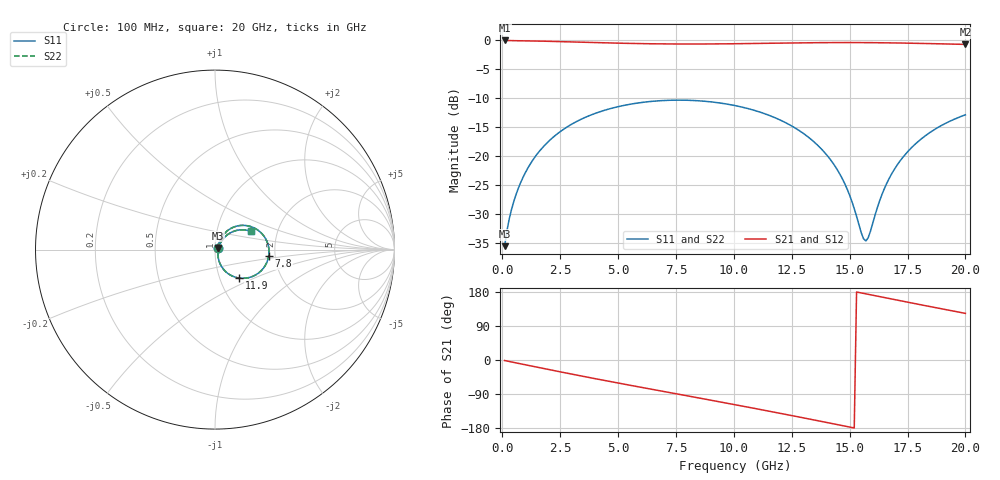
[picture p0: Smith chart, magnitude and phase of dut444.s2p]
! Touchstone file exported from HFSS 2026.1.0
!  File:  C:/ffzhzh/LocalFiles/Ansys_Project_Files/temp_train_TSV_RDL_444_1783099051_35180.aedt
!  Generated:  01:28:21 AM Jul  4, 2026
!  Design:  TSV_RDL
!  Project:  temp_train_TSV_RDL_444_1783099051_35180
! Variables:
!  h_bsmrdl = 4.12um
!  h_ox = 20um
!  h_rdl = 5um
!  h_sub = 70.75um
!  h_tmrdl = 4.57um
!  h_tsv = 70.75um
!  h_via = 3um
!  l_bsmrdl = 639.42um
!  l_sub = 4053.22um
!  l_tmrdl = 391.8um
!  m_sub = 200um
!  pitch = 39.66um
!  r_tsv = 4.96um
!  s_tmrdl = 10um
!  w_bsmrdl = 25.93um
!  w_sub = 500um
!  w_tmrdl = 29.99um
!  x_tsv_center1 = 406.795um
!  x_tsv_center2 = 1072.145um
!  x_tsv_center3 = 1493.935um
!  x_tsv_center4 = 2159.285um
!  x_tsv_center5 = 2581.075um
!  x_tsv_center6 = 3246.425um
# GHz S MA R 50.000000
! Terminal data exported
! Port[1] = TM_RDL1_1_T1
! Port[2] = TM_RDL5_1_T1
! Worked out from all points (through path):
!   200 points, 100 MHz to 20 GHz, reference 50 ohm
!   highest |S21| = -0.12 dB at 100 MHz (marker M1); lowest = -0.8 dB at 20 GHz (marker M2)
!   group delay of S21, straight-line fit = 32.6 ps
!   lowest |S11| = -35.6 dB at 100 MHz (marker M3), VSWR 1.03, Z = 51.4 + j0.861 ohm
!   |S11| at or under -10 dB: start of sweep to end of sweep
!   |S22| runs from -35.6 to -10.4 dB; largest |S21 - S12| = 1.8e-14
!   S11 on the Smith chart (normalised r, x): 100 MHz: 1.03, +0.02; 7.8 GHz: 1.85, -0.14; 11.9 GHz: 1.23, -0.41; 20 GHz: 1.46, +0.31
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0.1  0.01659 30.3  0.9858 -1.4  0.9858 -1.4  0.01659 30.3
! Gamma 0 0 0 0
! Port Impedance 50 0 50 0
0.3  0.0285 50.6  0.9832 -3.9  0.9832 -3.9  0.0285 50.6
0.5  0.04049 57.5  0.9816 -6.4  0.9816 -6.4  0.04049 57.5
1.2  0.08428 61.3  0.977 -15.2  0.977 -15.2  0.08428 61.3
2.2  0.1446 53.6  0.9672 -27.6  0.9672 -27.6  0.1446 53.6
3.5  0.2105 39.9  0.9513 -43.2  0.9513 -43.2  0.2105 39.9
5.1  0.2675 22.4  0.9333 -61.9  0.9333 -61.9  0.2675 22.4
6.8  0.2978 4.2  0.9213 -81.2  0.9213 -81.2  0.2978 4.2
7.8  0.3012 -6.5  0.9186 -92.4  0.9186 -92.4  0.3013 -6.5
10.1  0.2693 -30.9  0.9239 -118.5  0.9239 -118.5  0.2693 -30.9
11.9  0.2074 -49.8  0.9345 -139.5  0.9345 -139.5  0.2074 -49.8
13.4  0.135 -64.3  0.9425 -157.4  0.9425 -157.4  0.135 -64.3
14.6  0.06814 -70.5  0.9456 -172.0  0.9456 -172.0  0.06819 -70.5
15  0.04564 -67.1  0.9457 -176.9  0.9457 -176.9  0.04569 -67.0
15.6  0.01922 -24.7  0.9448 175.7  0.9448 175.7  0.01928 -24.7
15.7  0.01842 -7.5  0.9446 174.5  0.9446 174.5  0.01847 -7.6
15.8  0.01955 9.3  0.9443 173.3  0.9443 173.3  0.01958 9.2
16.3  0.04105 47.2  0.9423 167.2  0.9423 167.2  0.04103 47.1
16.7  0.06318 52.2  0.9402 162.3  0.9402 162.3  0.06315 52.2
17.3  0.09686 51.2  0.9362 155.0  0.9362 155.0  0.09682 51.2
18  0.1347 46.2  0.9305 146.6  0.9305 146.6  0.1346 46.2
20  0.2252 26.8  0.9116 123.0  0.9116 123.0  0.2251 26.9
